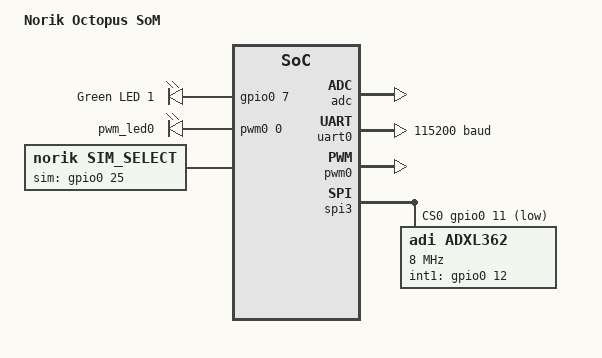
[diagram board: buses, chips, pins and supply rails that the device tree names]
/*
 * Copyright (c) 2024 Norik Systems
 * SPDX-License-Identifier: Apache-2.0
 */
#include "octopus_som_common-pinctrl.dtsi"

/ {
	model = "Norik Octopus SoM";
	compatible = "norik,octopus-som";

	chosen {
		zephyr,console = &uart0;
		zephyr,shell-uart = &uart0;
		zephyr,uart-mcumgr = &uart0;
	};

	leds {
		compatible = "gpio-leds";

		led0: led_0 {
			gpios = <&gpio0 7 0>;
			label = "Green LED 1";
		};

	};

	pwmleds {
		compatible = "pwm-leds";

		pwm_led0: pwm_led_0 {
			pwms = <&pwm0 0 PWM_MSEC(20) PWM_POLARITY_NORMAL>;
		};
	};

	sim_select: sim_select {
		compatible = "norik,sim_select";
		sim-gpios= <&gpio0 25 GPIO_ACTIVE_HIGH>;
		sim = "external";
	};

	/* These aliases are provided for compatibility with samples */
	aliases {
		led0 = &led0;
		pwm-led0 = &pwm_led0;
		watchdog0 = &wdt0;
		accel0 = &adxl362;
	};
};

&adc {
	status = "okay";
};

&gpiote {
	status = "okay";
};

&gpio0 {
	status = "okay";
};

&uart0 {
	status = "okay";
	current-speed = <115200>;
	pinctrl-0 = <&uart0_default>;
	pinctrl-1 = <&uart0_sleep>;
	pinctrl-names = "default", "sleep";
};

&pwm0 {
	status = "okay";
	pinctrl-0 = <&pwm0_default>;
	pinctrl-1 = <&pwm0_sleep>;
	pinctrl-names = "default", "sleep";
};

&spi3 {
	compatible = "nordic,nrf-spim";
	status = "okay";
	cs-gpios = <&gpio0 11 GPIO_ACTIVE_LOW>;
	pinctrl-0 = <&spi3_default>;
	pinctrl-1 = <&spi3_sleep>;
	pinctrl-names = "default", "sleep";

	adxl362: adxl362@0 {
		compatible = "adi,adxl362";
		spi-max-frequency = <8000000>;
		reg = <0>;
		int1-gpios = <&gpio0 12 0>;
	};
};

/* Include default memory partition configuration file */
#include <common/nordic/nrf91xx_partition.dtsi>
